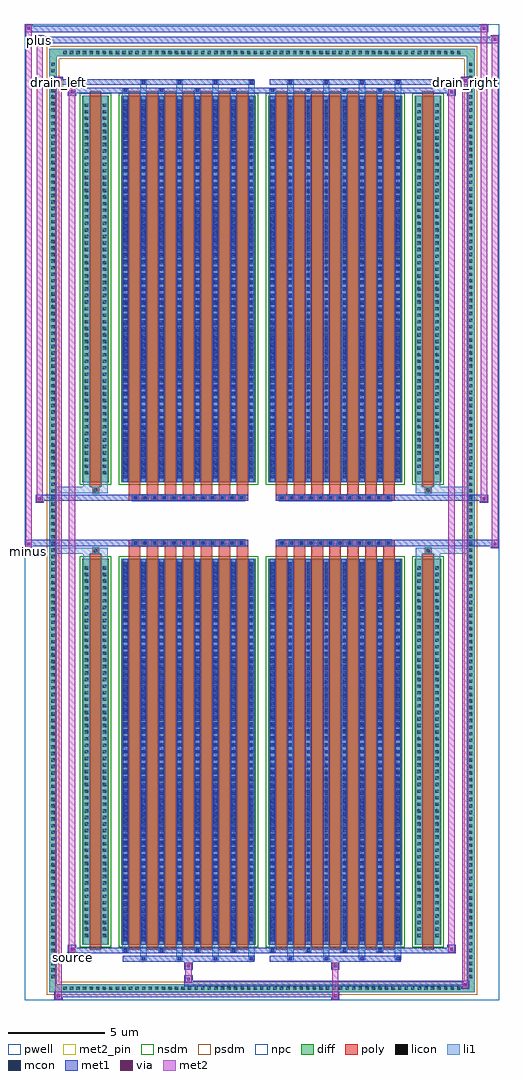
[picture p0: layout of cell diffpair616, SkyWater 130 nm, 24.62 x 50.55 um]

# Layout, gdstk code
import gdstk
lib = gdstk.Library(unit=1e-6, precision=5e-09)
def R(c, l, rs):  # rectangles x0, y0, x1, y1
    for r in rs: c.add(gdstk.rectangle(r[:2], r[2:], *l))
def A(c, l, x, y, w, h, nx, ny, dx, dy):  # array of equal rectangles
    R(c, l, [(x+i*dx, y+j*dy, x+i*dx+w, y+j*dy+h) for i in range(nx) for j in range(ny)])
def P(c, l, *ps):  # polygons
    for p in ps: c.add(gdstk.Polygon(p, *l))
pwell = (64, 44)
diff = (65, 20)
poly = (66, 20)
licon = (66, 44)
li1 = (67, 20)
mcon = (67, 44)
met1 = (68, 20)
via = (68, 44)
met2_pin = (69, 16)
met2 = (69, 20)
nsdm = (93, 44)
psdm = (94, 20)
npc = (95, 20)

diffpair616 = lib.new_cell('diffpair616')
R(diffpair616, pwell, [(-12.29,-24.84,12.29,25.71), (-9.61,-23.03,-0.01,-0.805), (0.01,-23.03,9.61,-0.805), (-9.61,0.805,-0.01,23.03), (0.01,0.805,9.61,23.03)])
A(diffpair616, diff, -10.405, -24.44, 0.41, 0.41, 61, 2, 0.34, 48.47)
A(diffpair616, diff, -11.02, -23.835, 0.41, 0.41, 1, 140, 0, 0.34)
A(diffpair616, diff, 10.61, -23.835, 0.41, 0.41, 1, 140, 0, 0.34)
R(diffpair616, diff, [(-10.405,-24.44,10.405,-24.03), (-11.02,-23.835,-10.61,23.835), (10.61,-23.835,11.02,23.835), (-9.3,-21.985,-7.92,-1.985), (-7.28,-21.985,-0.32,-1.985), (0.32,-21.985,7.28,-1.985), (7.92,-21.985,9.3,-1.985), (-9.3,1.985,-7.92,21.985), (-7.28,1.985,-0.32,21.985), (0.32,1.985,7.28,21.985), (7.92,1.985,9.3,21.985), (-10.405,24.03,10.405,24.44)])
P(diffpair616, diff, [(11.02,24.44),(-11.02,24.44),(-11.02,-24.03),(-10.61,-24.03),(-10.61,24.03),(10.61,24.03),(10.61,-24.03),(-10.61,-24.03),(-11.02,-24.03),(-11.02,-24.44),(11.02,-24.44)])
A(diffpair616, poly, -6.89, -22.235, 0.6, 20.5, 7, 2, 0.93, 23.97)
A(diffpair616, poly, 0.71, -22.235, 0.6, 20.5, 7, 2, 0.93, 23.97)
A(diffpair616, poly, -6.89, -1.735, 0.6, 0.4, 7, 2, 0.93, 3.07)
A(diffpair616, poly, 0.71, -1.735, 0.6, 0.4, 7, 2, 0.93, 3.07)
A(diffpair616, poly, -6.715, -1.335, 0.33, 0.33, 12, 2, 0.5, 2.34)
A(diffpair616, poly, 0.885, -1.335, 0.33, 0.33, 12, 2, 0.5, 2.34)
R(diffpair616, poly, [(-8.91,-22.235,-8.31,-1.735), (8.31,-22.235,8.91,-1.735), (-8.775,-1.735,-8.445,-1.405), (-8.775,-1.735,-8.445,-1.405), (8.445,-1.735,8.775,-1.405), (8.445,-1.735,8.775,-1.405), (-6.89,-1.335,-0.71,-1.005), (0.71,-1.335,6.89,-1.005), (-6.89,1.005,-0.71,1.335), (0.71,1.005,6.89,1.335), (-8.775,1.405,-8.445,1.735), (-8.775,1.405,-8.445,1.735), (8.445,1.405,8.775,1.735), (8.445,1.405,8.775,1.735), (-8.91,1.735,-8.31,22.235), (8.31,1.735,8.91,22.235)])
A(diffpair616, licon, -10.285, -24.32, 0.17, 0.17, 61, 2, 0.34, 48.47)
A(diffpair616, licon, -10.9, -23.715, 0.17, 0.17, 1, 140, 0, 0.34)
A(diffpair616, licon, 10.73, -23.715, 0.17, 0.17, 1, 140, 0, 0.34)
A(diffpair616, licon, -9.16, -21.59, 0.17, 0.17, 1, 57, 0, 0.34)
A(diffpair616, licon, -8.23, -21.59, 0.17, 0.17, 1, 57, 0, 0.34)
A(diffpair616, licon, -7.14, -21.59, 0.17, 0.17, 8, 57, 0.93, 0.34)
A(diffpair616, licon, 0.46, -21.59, 0.17, 0.17, 8, 57, 0.93, 0.34)
A(diffpair616, licon, 8.06, -21.59, 0.17, 0.17, 1, 57, 0, 0.34)
A(diffpair616, licon, 8.99, -21.59, 0.17, 0.17, 1, 57, 0, 0.34)
A(diffpair616, licon, -6.635, -1.255, 0.17, 0.17, 12, 2, 0.5, 2.34)
A(diffpair616, licon, 0.965, -1.255, 0.17, 0.17, 12, 2, 0.5, 2.34)
A(diffpair616, licon, -9.16, 2.38, 0.17, 0.17, 1, 57, 0, 0.34)
A(diffpair616, licon, -8.23, 2.38, 0.17, 0.17, 1, 57, 0, 0.34)
A(diffpair616, licon, -7.14, 2.38, 0.17, 0.17, 8, 57, 0.93, 0.34)
A(diffpair616, licon, 0.46, 2.38, 0.17, 0.17, 8, 57, 0.93, 0.34)
A(diffpair616, licon, 8.06, 2.38, 0.17, 0.17, 1, 57, 0, 0.34)
A(diffpair616, licon, 8.99, 2.38, 0.17, 0.17, 1, 57, 0, 0.34)
R(diffpair616, licon, [(-8.695,-1.655,-8.525,-1.485), (8.525,-1.655,8.695,-1.485), (-8.695,1.485,-8.525,1.655), (8.525,1.485,8.695,1.655)])
A(diffpair616, li1, -10.365, -24.4, 0.33, 0.33, 61, 2, 0.34, 48.47)
A(diffpair616, li1, -10.98, -23.795, 0.33, 0.33, 1, 140, 0, 0.34)
A(diffpair616, li1, 10.65, -23.795, 0.33, 0.33, 1, 140, 0, 0.34)
A(diffpair616, li1, -6.29, -22.79, 0.33, 0.805, 4, 2, 1.86, 44.775)
A(diffpair616, li1, -6.21, -22.79, 0.17, 0.17, 4, 2, 1.86, 45.41)
A(diffpair616, li1, 1.31, -22.79, 0.33, 0.805, 4, 2, 1.86, 44.775)
A(diffpair616, li1, 1.39, -22.79, 0.17, 0.17, 4, 2, 1.86, 45.41)
A(diffpair616, li1, -7.22, -22.36, 0.33, 0.375, 4, 2, 1.86, 44.345)
A(diffpair616, li1, -7.14, -22.36, 0.17, 0.17, 4, 2, 1.86, 44.55)
A(diffpair616, li1, 0.38, -22.36, 0.33, 0.375, 4, 2, 1.86, 44.345)
A(diffpair616, li1, 0.46, -22.36, 0.17, 0.17, 4, 2, 1.86, 44.55)
A(diffpair616, li1, -7.22, -21.985, 0.33, 20, 8, 2, 0.93, 23.97)
A(diffpair616, li1, 0.38, -21.985, 0.33, 20, 8, 2, 0.93, 23.97)
A(diffpair616, li1, -7.14, -21.79, 0.17, 0.17, 8, 55, 0.93, 0.36)
A(diffpair616, li1, -7.14, -21.79, 0.17, 19.61, 8, 2, 0.93, 23.97)
A(diffpair616, li1, 0.46, -21.79, 0.17, 0.17, 8, 55, 0.93, 0.36)
A(diffpair616, li1, 0.46, -21.79, 0.17, 19.61, 8, 2, 0.93, 23.97)
A(diffpair616, li1, -9.24, -21.67, 0.33, 0.33, 1, 57, 0, 0.34)
A(diffpair616, li1, -8.31, -21.67, 0.33, 0.33, 1, 57, 0, 0.34)
A(diffpair616, li1, -7.22, -21.67, 0.33, 0.33, 8, 57, 0.93, 0.34)
A(diffpair616, li1, 0.38, -21.67, 0.33, 0.33, 8, 57, 0.93, 0.34)
A(diffpair616, li1, 7.98, -21.67, 0.33, 0.33, 1, 57, 0, 0.34)
A(diffpair616, li1, 8.91, -21.67, 0.33, 0.33, 1, 57, 0, 0.34)
A(diffpair616, li1, -6.715, -1.335, 0.33, 0.33, 12, 2, 0.5, 2.34)
A(diffpair616, li1, 0.885, -1.335, 0.33, 0.33, 12, 2, 0.5, 2.34)
A(diffpair616, li1, -7.14, 2.18, 0.17, 0.17, 8, 55, 0.93, 0.36)
A(diffpair616, li1, 0.46, 2.18, 0.17, 0.17, 8, 55, 0.93, 0.36)
A(diffpair616, li1, -9.24, 2.3, 0.33, 0.33, 1, 57, 0, 0.34)
A(diffpair616, li1, -8.31, 2.3, 0.33, 0.33, 1, 57, 0, 0.34)
A(diffpair616, li1, -7.22, 2.3, 0.33, 0.33, 8, 57, 0.93, 0.34)
A(diffpair616, li1, 0.38, 2.3, 0.33, 0.33, 8, 57, 0.93, 0.34)
A(diffpair616, li1, 7.98, 2.3, 0.33, 0.33, 1, 57, 0, 0.34)
A(diffpair616, li1, 8.91, 2.3, 0.33, 0.33, 1, 57, 0, 0.34)
R(diffpair616, li1, [(-11.02,-24.44,-10.61,-24.03), (-11.02,-24.44,-10.61,-24.03), (-10.61,-24.44,10.61,-24.03), (10.61,-24.44,11.02,-24.03), (10.61,-24.44,11.02,-24.03), (-11.02,-24.03,-10.61,24.03), (10.61,-24.03,11.02,24.03), (-9.24,-21.985,-8.91,-1.985), (-8.31,-21.985,-7.98,-1.985), (7.98,-21.985,8.31,-1.985), (8.91,-21.985,9.24,-1.985), (-9.24,-1.985,-8.91,-1.405), (-8.31,-1.985,-7.98,-1.405), (7.98,-1.985,8.31,-1.405), (8.91,-1.985,9.24,-1.405), (-11.02,-1.735,-8.775,-1.405), (-9.24,-1.735,-8.775,-1.405), (-8.775,-1.735,-8.445,-1.405), (-8.445,-1.735,-7.98,-1.405), (7.98,-1.735,8.445,-1.405), (8.445,-1.735,8.775,-1.405), (8.445,-1.735,11.02,-1.405), (8.775,-1.735,9.24,-1.405), (-11.02,1.405,-8.775,1.735), (-9.24,1.405,-8.775,1.735), (-9.24,1.405,-8.91,1.985), (-8.775,1.405,-8.445,1.735), (-8.445,1.405,-7.98,1.735), (-8.31,1.405,-7.98,1.985), (7.98,1.405,8.445,1.735), (7.98,1.405,8.31,1.985), (8.445,1.405,8.775,1.735), (8.445,1.405,11.02,1.735), (8.775,1.405,9.24,1.735), (8.91,1.405,9.24,1.985), (-9.24,1.985,-8.91,21.985), (-8.31,1.985,-7.98,21.985), (7.98,1.985,8.31,21.985), (8.91,1.985,9.24,21.985), (-11.02,24.03,-10.61,24.44), (-11.02,24.03,-10.61,24.44), (-10.61,24.03,10.61,24.44), (10.61,24.03,11.02,24.44), (10.61,24.03,11.02,24.44)])
A(diffpair616, mcon, -6.21, -22.79, 0.17, 0.17, 4, 2, 1.86, 45.41)
A(diffpair616, mcon, 1.39, -22.79, 0.17, 0.17, 4, 2, 1.86, 45.41)
A(diffpair616, mcon, -7.14, -22.36, 0.17, 0.17, 4, 2, 1.86, 44.55)
A(diffpair616, mcon, 0.46, -22.36, 0.17, 0.17, 4, 2, 1.86, 44.55)
A(diffpair616, mcon, -7.14, -21.79, 0.17, 0.17, 8, 55, 0.93, 0.36)
A(diffpair616, mcon, 0.46, -21.79, 0.17, 0.17, 8, 55, 0.93, 0.36)
A(diffpair616, mcon, -6.635, -1.255, 0.17, 0.17, 12, 2, 0.5, 2.34)
A(diffpair616, mcon, 0.965, -1.255, 0.17, 0.17, 12, 2, 0.5, 2.34)
A(diffpair616, mcon, -7.14, 2.18, 0.17, 0.17, 8, 55, 0.93, 0.36)
A(diffpair616, mcon, 0.46, 2.18, 0.17, 0.17, 8, 55, 0.93, 0.36)
A(diffpair616, met1, -6.27, -22.85, 0.29, 0.29, 4, 2, 1.86, 45.41)
A(diffpair616, met1, 1.33, -22.85, 0.29, 0.29, 4, 2, 1.86, 45.41)
A(diffpair616, met1, -7.2, -22.42, 0.29, 0.29, 4, 2, 1.86, 44.55)
A(diffpair616, met1, 0.4, -22.42, 0.29, 0.29, 4, 2, 1.86, 44.55)
A(diffpair616, met1, -7.2, -21.985, 0.29, 20, 8, 2, 0.93, 23.97)
A(diffpair616, met1, 0.4, -21.985, 0.29, 20, 8, 2, 0.93, 23.97)
A(diffpair616, met1, -7.2, -21.85, 0.29, 0.29, 8, 55, 0.93, 0.36)
A(diffpair616, met1, 0.4, -21.85, 0.29, 0.29, 8, 55, 0.93, 0.36)
A(diffpair616, met1, -6.695, -1.315, 0.29, 0.29, 12, 2, 0.5, 2.34)
A(diffpair616, met1, 0.905, -1.315, 0.29, 0.29, 12, 2, 0.5, 2.34)
A(diffpair616, met1, -7.2, 2.12, 0.29, 0.29, 8, 55, 0.93, 0.36)
A(diffpair616, met1, 0.4, 2.12, 0.29, 0.29, 8, 55, 0.93, 0.36)
R(diffpair616, met1, [(-10.75,-24.84,-10.32,-24.41), (3.585,-24.84,4.015,-24.41), (-10.75,-24.7,4.015,-24.41), (10.32,-24.27,10.75,-23.84), (-4.015,-24.13,10.75,-23.84), (-4.015,-23.99,-3.585,-23.56), (-4.015,-23.28,-3.585,-22.85), (3.585,-23.28,4.015,-22.85), (-7.2,-22.85,-0.4,-22.56), (0.4,-22.85,7.2,-22.56), (-10.04,-22.42,-9.61,-21.99), (-10.04,-22.42,-7.2,-22.13), (-7.2,-22.42,-0.4,-22.13), (-0.4,-22.42,0.4,-22.13), (0.4,-22.42,7.2,-22.13), (7.2,-22.42,10.04,-22.13), (9.61,-22.42,10.04,-21.99), (-12.29,-1.435,-11.86,-1.005), (11.86,-1.435,12.29,-1.005), (-12.29,-1.335,-0.71,-1.005), (-6.89,-1.335,-0.71,-1.005), (0.71,-1.335,6.89,-1.005), (0.71,-1.335,12.29,-1.005), (-11.72,0.905,-11.29,1.335), (11.29,0.905,11.72,1.335), (-11.72,1.005,-6.89,1.335), (-6.89,1.005,-0.71,1.335), (0.71,1.005,6.89,1.335), (6.89,1.005,11.72,1.335), (-10.04,21.99,-9.61,22.42), (9.61,21.99,10.04,22.42), (-10.04,22.13,-7.2,22.42), (-7.2,22.13,-0.4,22.42), (-0.4,22.13,0.4,22.42), (0.4,22.13,7.2,22.42), (7.2,22.13,10.04,22.42), (-10.75,22.56,-10.32,22.99), (-10.75,22.56,-7.2,22.85), (-7.2,22.56,-0.4,22.85), (0.4,22.56,7.2,22.85), (7.2,22.56,10.75,22.85), (10.32,22.56,10.75,22.99), (-11.72,24.71,-11.29,25.14), (-11.72,24.71,-9.61,25.04), (-9.61,24.71,9.61,25.04), (9.61,24.71,12.29,25.04), (11.86,24.71,12.29,25.14), (-12.29,25.28,-11.86,25.71), (-12.29,25.28,-9.61,25.61), (-9.61,25.28,9.61,25.61), (9.61,25.28,11.72,25.61), (11.29,25.28,11.72,25.71)])
R(diffpair616, via, [(-10.61,-24.7,-10.46,-24.55), (3.725,-24.7,3.875,-24.55), (10.46,-24.13,10.61,-23.98), (-3.875,-23.85,-3.725,-23.7), (-3.875,-23.14,-3.725,-22.99), (3.725,-23.14,3.875,-22.99), (-9.9,-22.28,-9.75,-22.13), (9.75,-22.28,9.9,-22.13), (-12.15,-1.295,-12,-1.145), (12,-1.295,12.15,-1.145), (-11.58,1.045,-11.43,1.195), (11.43,1.045,11.58,1.195), (-9.9,22.13,-9.75,22.28), (9.75,22.13,9.9,22.28), (-10.61,22.7,-10.46,22.85), (10.46,22.7,10.61,22.85), (-11.58,24.85,-11.43,25), (12,24.85,12.15,25), (-12.15,25.42,-12,25.57), (11.43,25.42,11.58,25.57)])
R(diffpair616, met2_pin, [(-10.075,-22.87,-9.575,-22.37), (-12.325,-1.885,-11.825,-1.385), (-10.785,22.44,-10.285,22.94), (10.285,22.44,10.785,22.94), (-11.755,24.59,-11.255,25.09)])
R(diffpair616, met2, [(-10.7,-24.79,-10.37,-24.46), (-10.7,-24.79,-10.37,22.94), (3.635,-24.79,3.965,-24.46), (3.635,-24.46,3.965,-23.23), (10.37,-24.22,10.7,-23.89), (10.37,-24.22,10.7,22.94), (-3.965,-23.94,-3.635,-23.61), (-3.965,-23.61,-3.635,-23.23), (-3.965,-23.23,-3.635,-22.9), (3.635,-23.23,3.965,-22.9), (-9.99,-22.37,-9.66,-22.04), (-9.99,-22.37,-9.66,22.37), (9.66,-22.37,9.99,-22.04), (9.66,-22.37,9.99,22.37), (-12.24,-1.385,-11.91,-1.055), (-12.24,-1.385,-11.91,25.66), (11.91,-1.385,12.24,-1.055), (11.91,-1.385,12.24,25.09), (-11.67,0.955,-11.34,1.285), (-11.67,0.955,-11.34,25.09), (11.34,0.955,11.67,1.285), (11.34,0.955,11.67,25.66), (-9.99,22.04,-9.66,22.37), (9.66,22.04,9.99,22.37), (-10.7,22.61,-10.37,22.94), (10.37,22.61,10.7,22.94), (-11.67,24.76,-11.34,25.09), (11.91,24.76,12.24,25.09), (-12.24,25.33,-11.91,25.66), (11.34,25.33,11.67,25.66)])
P(diffpair616, met2, [(12.24,-1.385),(12.24,-1.385),(12.24,-1.055),(12.24,-1.055)],
  [(12.24,24.76),(12.24,24.76),(12.24,25.09),(12.24,25.09)],
  [(-11.91,-1.385),(-11.91,-1.385),(-11.91,-1.055),(-11.91,-1.055)],
  [(-11.91,25.33),(-11.91,25.33),(-11.91,25.66),(-11.91,25.66)],
  [(11.67,0.955),(11.67,0.955),(11.67,1.285),(11.67,1.285)],
  [(11.67,25.33),(11.67,25.33),(11.67,25.66),(11.67,25.66)],
  [(-11.34,0.955),(-11.34,0.955),(-11.34,1.285),(-11.34,1.285)],
  [(-11.34,24.76),(-11.34,24.76),(-11.34,25.09),(-11.34,25.09)],
  [(-10.37,-24.79),(-10.37,-24.79),(-10.37,-24.46),(-10.37,-24.46)],
  [(-10.37,22.61),(-10.37,22.61),(-10.37,22.94),(-10.37,22.94)],
  [(10.7,-24.22),(10.7,-24.22),(10.7,-23.89),(10.7,-23.89)],
  [(10.7,22.61),(10.7,22.61),(10.7,22.94),(10.7,22.94)],
  [(-9.66,-22.37),(-9.66,-22.37),(-9.66,-22.04),(-9.66,-22.04)],
  [(-9.66,22.04),(-9.66,22.04),(-9.66,22.37),(-9.66,22.37)],
  [(9.99,-22.37),(9.99,-22.37),(9.99,-22.04),(9.99,-22.04)],
  [(9.99,22.04),(9.99,22.04),(9.99,22.37),(9.99,22.37)])
R(diffpair616, nsdm, [(-9.43,-22.115,-7.79,-1.855), (-7.41,-22.115,-0.19,-1.855), (0.19,-22.115,7.41,-1.855), (7.79,-22.115,9.43,-1.855), (-9.43,1.855,-7.79,22.115), (-7.41,1.855,-0.19,22.115), (0.19,1.855,7.41,22.115), (7.79,1.855,9.43,22.115)])
P(diffpair616, psdm, [(11.15,24.57),(-11.15,24.57),(-11.15,-23.9),(-10.48,-23.9),(-10.48,23.9),(10.48,23.9),(10.48,-23.9),(-10.48,-23.9),(-11.15,-23.9),(-11.15,-24.57),(11.15,-24.57)])
A(diffpair616, npc, -6.735, -1.355, 0.37, 0.37, 12, 2, 0.5, 2.34)
A(diffpair616, npc, 0.865, -1.355, 0.37, 0.37, 12, 2, 0.5, 2.34)
R(diffpair616, npc, [(-8.795,-1.755,-8.425,-1.385), (8.425,-1.755,8.795,-1.385), (-6.735,-1.355,-5.865,-0.985), (-6.735,-1.355,-5.865,-0.985), (-6.235,-1.355,-5.365,-0.985), (-6.235,-1.355,-5.365,-0.985), (-5.735,-1.355,-4.865,-0.985), (-5.735,-1.355,-4.865,-0.985), (-5.235,-1.355,-4.365,-0.985), (-5.235,-1.355,-4.365,-0.985), (-4.735,-1.355,-3.865,-0.985), (-4.735,-1.355,-3.865,-0.985), (-4.235,-1.355,-3.365,-0.985), (-4.235,-1.355,-3.365,-0.985), (-3.735,-1.355,-2.865,-0.985), (-3.735,-1.355,-2.865,-0.985), (-3.235,-1.355,-2.365,-0.985), (-3.235,-1.355,-2.365,-0.985), (-2.735,-1.355,-1.865,-0.985), (-2.735,-1.355,-1.865,-0.985), (-2.235,-1.355,-1.365,-0.985), (-2.235,-1.355,-1.365,-0.985), (-1.735,-1.355,-0.865,-0.985), (-1.735,-1.355,-0.865,-0.985), (0.865,-1.355,1.735,-0.985), (0.865,-1.355,1.735,-0.985), (1.365,-1.355,2.235,-0.985), (1.365,-1.355,2.235,-0.985), (1.865,-1.355,2.735,-0.985), (1.865,-1.355,2.735,-0.985), (2.365,-1.355,3.235,-0.985), (2.365,-1.355,3.235,-0.985), (2.865,-1.355,3.735,-0.985), (2.865,-1.355,3.735,-0.985), (3.365,-1.355,4.235,-0.985), (3.365,-1.355,4.235,-0.985), (3.865,-1.355,4.735,-0.985), (3.865,-1.355,4.735,-0.985), (4.365,-1.355,5.235,-0.985), (4.365,-1.355,5.235,-0.985), (4.865,-1.355,5.735,-0.985), (4.865,-1.355,5.735,-0.985), (5.365,-1.355,6.235,-0.985), (5.365,-1.355,6.235,-0.985), (5.865,-1.355,6.735,-0.985), (5.865,-1.355,6.735,-0.985), (-6.735,0.985,-5.865,1.355), (-6.735,0.985,-5.865,1.355), (-6.235,0.985,-5.365,1.355), (-6.235,0.985,-5.365,1.355), (-5.735,0.985,-4.865,1.355), (-5.735,0.985,-4.865,1.355), (-5.235,0.985,-4.365,1.355), (-5.235,0.985,-4.365,1.355), (-4.735,0.985,-3.865,1.355), (-4.735,0.985,-3.865,1.355), (-4.235,0.985,-3.365,1.355), (-4.235,0.985,-3.365,1.355), (-3.735,0.985,-2.865,1.355), (-3.735,0.985,-2.865,1.355), (-3.235,0.985,-2.365,1.355), (-3.235,0.985,-2.365,1.355), (-2.735,0.985,-1.865,1.355), (-2.735,0.985,-1.865,1.355), (-2.235,0.985,-1.365,1.355), (-2.235,0.985,-1.365,1.355), (-1.735,0.985,-0.865,1.355), (-1.735,0.985,-0.865,1.355), (0.865,0.985,1.735,1.355), (0.865,0.985,1.735,1.355), (1.365,0.985,2.235,1.355), (1.365,0.985,2.235,1.355), (1.865,0.985,2.735,1.355), (1.865,0.985,2.735,1.355), (2.365,0.985,3.235,1.355), (2.365,0.985,3.235,1.355), (2.865,0.985,3.735,1.355), (2.865,0.985,3.735,1.355), (3.365,0.985,4.235,1.355), (3.365,0.985,4.235,1.355), (3.865,0.985,4.735,1.355), (3.865,0.985,4.735,1.355), (4.365,0.985,5.235,1.355), (4.365,0.985,5.235,1.355), (4.865,0.985,5.735,1.355), (4.865,0.985,5.735,1.355), (5.365,0.985,6.235,1.355), (5.365,0.985,6.235,1.355), (5.865,0.985,6.735,1.355), (5.865,0.985,6.735,1.355), (-8.795,1.385,-8.425,1.755), (8.425,1.385,8.795,1.755)])
diffpair616.add(gdstk.Label('minus', (-12.075,-1.635), layer=69, texttype=5))
diffpair616.add(gdstk.Label('drain_right', (10.535,22.69), layer=69, texttype=5))
diffpair616.add(gdstk.Label('drain_left', (-10.535,22.69), layer=69, texttype=5))
diffpair616.add(gdstk.Label('source', (-9.825,-22.62), layer=69, texttype=5))
diffpair616.add(gdstk.Label('plus', (-11.505,24.84), layer=69, texttype=5))

lib.write_gds('diffpair616.gds')
